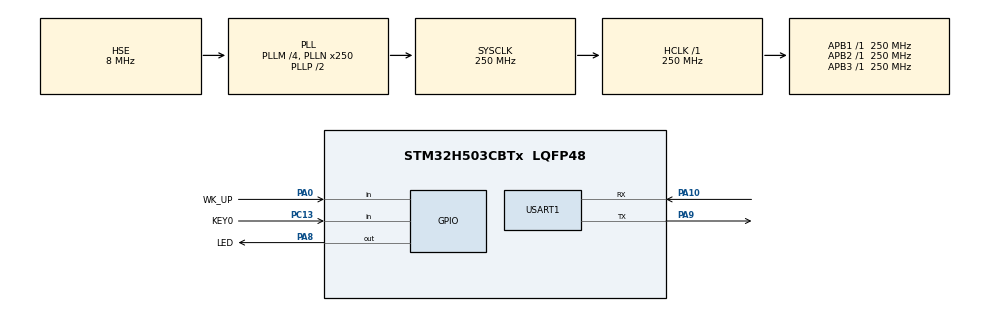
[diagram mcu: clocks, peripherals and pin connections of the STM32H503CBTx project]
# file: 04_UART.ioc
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BOOTPATH.BootPathName=LEGACY
BOOTPATH.UserSelectedBootPath=LEGACY
Mcu.Family=STM32H5
Mcu.Name=STM32H503CBTx
Mcu.Package=LQFP48
NVIC.PriorityGroup=NVIC_PRIORITYGROUP_2
NVIC.USART1_IRQn=true\:2\:2\:true\:false\:true\:true\:true\:true
PA0.GPIO_Label=WK_UP
PA0.GPIO_PuPd=GPIO_PULLDOWN
PA0.Signal=GPIO_Input
PA10.GPIO_ModeDefaultPP=GPIO_MODE_AF_PP
PA10.GPIO_Speed=GPIO_SPEED_FREQ_LOW
PA10.Mode=Asynchronous
PA10.Signal=USART1_RX
PA8.GPIO_Label=LED
PA8.GPIO_ModeDefaultOutputPP=GPIO_MODE_OUTPUT_PP
PA8.GPIO_PuPd=GPIO_PULLUP
PA8.PinState=GPIO_PIN_SET
PA8.Signal=GPIO_Output
PA9.GPIO_Speed=GPIO_SPEED_FREQ_HIGH
PA9.Mode=Asynchronous
PA9.Signal=USART1_TX
PC13.GPIO_Label=KEY0
PC13.GPIO_PuPd=GPIO_PULLDOWN
PC13.Signal=GPIO_Input
PC14-OSC32_IN(OSC32_IN).Mode=LSE-External-Oscillator
PC14-OSC32_IN(OSC32_IN).Signal=RCC_OSC32_IN
PC15-OSC32_OUT(OSC32_OUT).Mode=LSE-External-Oscillator
PC15-OSC32_OUT(OSC32_OUT).Signal=RCC_OSC32_OUT
PH0-OSC_IN(PH0).Mode=HSE-External-Oscillator
PH0-OSC_IN(PH0).Signal=RCC_OSC_IN
PH1-OSC_OUT(PH1).Mode=HSE-External-Oscillator
PH1-OSC_OUT(PH1).Signal=RCC_OSC_OUT
ProjectManager.HeapSize=0x200
ProjectManager.StackSize=0x400
ProjectManager.TargetToolchain=STM32CubeIDE
RCC.ADCFreq_Value=250000000
RCC.AHBFreq_Value=250000000
RCC.APB1Freq_Value=250000000
RCC.APB1TimFreq_Value=250000000
RCC.APB2Freq_Value=250000000
RCC.APB2TimFreq_Value=250000000
RCC.APB3Freq_Value=250000000
RCC.CSI_VALUE=4000000
RCC.CortexFreq_Value=250000000
RCC.EPOD_VALUE=8000000
RCC.HCLKFreq_Value=250000000
RCC.HSE_VALUE=8000000
RCC.HSI48_VALUE=48000000
RCC.HSI_VALUE=64000000
RCC.LSIRC_VALUE=32000
RCC.PLLM=4
RCC.PLLN=250
RCC.PLLSourceVirtual=RCC_PLL1_SOURCE_HSE
RCC.SYSCLKFreq_VALUE=250000000
RCC.SYSCLKSource=RCC_SYSCLKSOURCE_PLLCLK
RCC.USBFreq_Value=48000000
RCC.VCOOutputFreq_Value=500000000
USART1.VirtualMode=VM_ASYNC
VP_BOOTPATH_VS_BOOTPATH.Mode=BP_Activate
VP_ICACHE_VS_ICACHE.Mode=DefaultMode
VP_MEMORYMAP_VS_MEMORYMAP.Mode=CurAppReg
VP_PWR_VS_DBSignals.Mode=DisableDeadBatterySignals
VP_PWR_VS_LPOM.Mode=PowerOptimisation
VP_PWR_VS_SECSignals.Mode=Security/Privilege
board=custom

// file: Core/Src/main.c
/**
 ****************************************************************************************************
 * @file        main.c
 * @author      ALIENTEK
 * @brief       UART code
 * @license     Copyright (C) 2012-2024, ALIENTEK
 ****************************************************************************************************
 * @attention
 *
 * platform     : ALIENTEK M48-STM32H503 board
 * website      : www.alientek.com
 * forum        : www.openedv.com/forum.php
 *
 * change logs  ：
 * version      data         notes
 * V1.0         20240309     the first version
 *
 ****************************************************************************************************
 */

/* USER CODE BEGIN Header */

/* USER CODE END Header */
#include "main.h"
#include "icache.h"
#include "memorymap.h"
#include "usart.h"
#include "gpio.h"

/* USER CODE BEGIN Includes */
#include "../../BSP/LED/led.h"
#include "../../BSP/KEY/key.h"
/* USER CODE END Includes */

void SystemClock_Config(void);

int main(void)
{
  /* USER CODE BEGIN 1 */
  uint8_t len;
  uint16_t times = 0;
  /* USER CODE END 1 */

  /* MCU Configuration--------------------------------------------------------*/

  /* Reset of all peripherals, Initializes the Flash interface and the Systick. */
  HAL_Init();

  /* Configure the system clock */
  SystemClock_Config();

  /* Initialize all configured peripherals */
  MX_GPIO_Init();
  MX_ICACHE_Init();
  MX_USART1_UART_Init();

  /* Infinite loop */
  /* USER CODE BEGIN WHILE */
  while (1)
  {
	  if (g_usart_rx_sta & 0x8000)        /* whether data has been received */
	  {
		  len = g_usart_rx_sta & 0x3fff;  /* get the length of the received data */
	  	  printf("\r\nThe message you are sending is:\r\n");

	  	  HAL_UART_Transmit(&huart1, (uint8_t*)g_usart_rx_buf, len, 1000);   /* send received data */
	  	  while(__HAL_UART_GET_FLAG(&huart1, UART_FLAG_TC) != SET);          /* wait for send to finish */
	  	  printf("\r\n\r\n");             /* inserting line breaks */
	  	  g_usart_rx_sta = 0;
	  }
	  else
	  {
		  times++;

		  if (times % 1000 == 0)
		  {
	  		  printf("\r\n alientek STM32 UART code\r\n");
	  		  printf("@ALIENTEK\r\n\r\n\r\n");
		  }

		  if (times % 200 == 0)
		  {
			  printf("Please enter data and end with the ENTER key\r\n");
		  }
		  if (times % 30  == 0)
		  {
			  LED_TOGGLE();     /* flashing LED indicates that the system is running */
		  }

		  HAL_Delay(10);   		 /* delay 10ms */
	  }
    /* USER CODE END WHILE */

  }
}

void SystemClock_Config(void)
{
  RCC_OscInitTypeDef RCC_OscInitStruct = {0};
  RCC_ClkInitTypeDef RCC_ClkInitStruct = {0};

  /** Configure the main internal regulator output voltage
  */
  __HAL_PWR_VOLTAGESCALING_CONFIG(PWR_REGULATOR_VOLTAGE_SCALE0);

  while(!__HAL_PWR_GET_FLAG(PWR_FLAG_VOSRDY)) {}

  /** Initializes the RCC Oscillators according to the specified parameters
  * in the RCC_OscInitTypeDef structure.
  */
  RCC_OscInitStruct.OscillatorType = RCC_OSCILLATORTYPE_HSE;
  RCC_OscInitStruct.HSEState = RCC_HSE_ON;
  RCC_OscInitStruct.PLL.PLLState = RCC_PLL_ON;
  RCC_OscInitStruct.PLL.PLLSource = RCC_PLL1_SOURCE_HSE;
  RCC_OscInitStruct.PLL.PLLM = 4;
  RCC_OscInitStruct.PLL.PLLN = 250;
  RCC_OscInitStruct.PLL.PLLP = 2;
  RCC_OscInitStruct.PLL.PLLQ = 2;
  RCC_OscInitStruct.PLL.PLLR = 2;
  RCC_OscInitStruct.PLL.PLLRGE = RCC_PLL1_VCIRANGE_1;
  RCC_OscInitStruct.PLL.PLLVCOSEL = RCC_PLL1_VCORANGE_WIDE;
  RCC_OscInitStruct.PLL.PLLFRACN = 0;
  if (HAL_RCC_OscConfig(&RCC_OscInitStruct) != HAL_OK)
  {
    Error_Handler();
  }

  /** Initializes the CPU, AHB and APB buses clocks
  */
  RCC_ClkInitStruct.ClockType = RCC_CLOCKTYPE_HCLK|RCC_CLOCKTYPE_SYSCLK
                              |RCC_CLOCKTYPE_PCLK1|RCC_CLOCKTYPE_PCLK2
                              |RCC_CLOCKTYPE_PCLK3;
  RCC_ClkInitStruct.SYSCLKSource = RCC_SYSCLKSOURCE_PLLCLK;
  RCC_ClkInitStruct.AHBCLKDivider = RCC_SYSCLK_DIV1;
  RCC_ClkInitStruct.APB1CLKDivider = RCC_HCLK_DIV1;
  RCC_ClkInitStruct.APB2CLKDivider = RCC_HCLK_DIV1;
  RCC_ClkInitStruct.APB3CLKDivider = RCC_HCLK_DIV1;

  if (HAL_RCC_ClockConfig(&RCC_ClkInitStruct, FLASH_LATENCY_5) != HAL_OK)
  {
    Error_Handler();
  }
}

void Error_Handler(void)
{
  __disable_irq();
  while (1)
  {
  }
}
